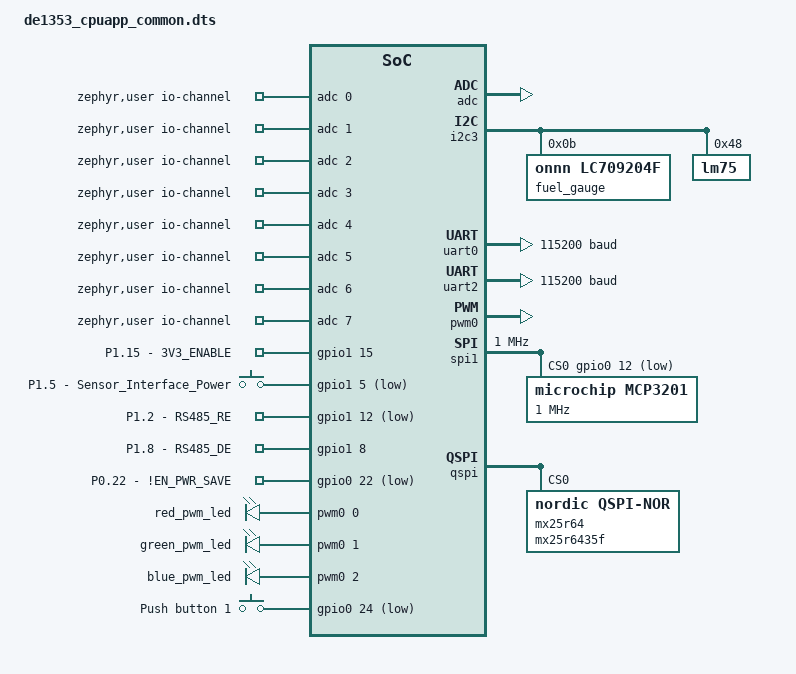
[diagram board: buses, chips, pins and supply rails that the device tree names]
/*
 * Copyright (c) 2019-2020 Nordic Semiconductor ASA
 *
 * SPDX-License-Identifier: Apache-2.0
 */
#include "de1353_cpuapp_common-pinctrl.dtsi"

/ {

	chosen {
		zephyr,console = &uart0;
		zephyr,shell-uart = &uart0;
		zephyr,uart-mcumgr = &uart0;
		zephyr,bt-mon-uart = &uart0;
		zephyr,bt-c2h-uart = &uart0;
		zephyr,bt-hci-rpmsg-ipc = &ipc0;
		zephyr,rs485 = &uart2;
	};

	zephyr,user {
		io-channels = <&adc 0>, <&adc 1>, <&adc 2>, <&adc 3>, <&adc 4>, <&adc 5>, <&adc 6>, <&adc 7>;
	};

	// GPIO
	gpio-pins {
		compatible = "gpio-keys";
		gpio3v3Enable: gpio_3v3_enable {
			gpios = <&gpio1 15 (GPIO_PULL_UP | GPIO_ACTIVE_HIGH)>;
			label = "P1.15 - 3V3_ENABLE";
		};
		gpioInterfacePower: gpio_interface_power {
			gpios = <&gpio1 5 (GPIO_ACTIVE_LOW)>;
			label = "P1.5 - Sensor_Interface_Power";
		};
		gpio_rs485_re: gpio_rs485_re {
			gpios = <&gpio1 12 (GPIO_ACTIVE_LOW)>;
			label = "P1.2 - RS485_RE";
		};
		gpio_rs485_de: gpio_rs485_de {
			gpios = <&gpio1 8 (GPIO_ACTIVE_HIGH)>;
			label = "P1.8 - RS485_DE";
		};
		gpio_en_pwr_save: gpio_en_pwr_save {
			gpios = <&gpio0 22 (GPIO_ACTIVE_LOW)>;
			label = "P0.22 - !EN_PWR_SAVE";
		};
	  };
	aliases {
		gpio-3v3-enable = &gpio3v3Enable;
		gpio-interface-power = &gpioInterfacePower;
		gpio-rs485-re = &gpio_rs485_re;
		gpio-rs485-de = &gpio_rs485_de;
		gpio-en-pwr-save = &gpio_en_pwr_save;
	};
	// PWM
	pwmleds {
		compatible = "pwm-leds";
		red_pwm_led: red_pwm_led {
			pwms = <&pwm0 0 PWM_MSEC(1) PWM_POLARITY_NORMAL>;
		};
		green_pwm_led: green_pwm_led {
			pwms = <&pwm0 1 PWM_MSEC(1) PWM_POLARITY_NORMAL>;
		};
		blue_pwm_led: blue_pwm_led {
			pwms = <&pwm0 2 PWM_MSEC(1) PWM_POLARITY_NORMAL>;
		};
	};
  	aliases {
		red-pwm-led = &red_pwm_led;
		green-pwm-led = &green_pwm_led;
		blue-pwm-led = &blue_pwm_led;
	};

	buttons {
		compatible = "gpio-keys";
		button0: button_0 {
			gpios = <&gpio0 24 (GPIO_PULL_UP | GPIO_ACTIVE_LOW)>;
			label = "Push button 1";
		};
	};

	/* These aliases are provided for compatibility with samples */
	aliases {
		sw0 = &button0;
	};
};

&adc {
	status = "okay";
};

&gpiote {
	status = "okay";
};

&gpio0 {
	status = "okay";
};

&gpio1 {
	status = "okay";
};

&i2c3 {
	compatible = "nordic,nrf-twim";
	status = "okay";
	pinctrl-0 = <&i2c3_default>;
	pinctrl-1 = <&i2c3_sleep>;
	pinctrl-names = "default", "sleep";

	fuel_gauge: lc709204f@B {
		compatible = "onnn,lc709204f";
		status = "okay";
		reg = <0x0B>;
		apa = <0x1A1A>;			//250mA --> 24:0x18 + (33:0x21-24:0x18) x (250-200)/(500-200) = 25,5:0x1A
		thermistor = <10000>;	//10K
		mode = <0x1>;			//temperature measurement with external thermistors on TSENSE1
		profile = <0x01>;		//Nominal/Rated Voltage: 3,7V and Charging Voltage: 4,2V
		empty_voltage = <3000>;	//cell end-voltage
	};

	lm75: lm75@48 {
		compatible = "lm75";
		reg = <0x48 >;
		label = "LM75";
	};
};

&uart0 {
	status = "okay";
	current-speed = <115200>;
	pinctrl-0 = <&uart0_default>;
	pinctrl-1 = <&uart0_sleep>;
	pinctrl-names = "default", "sleep";
};

&uart2 {
	status = "okay";
	current-speed = <115200>;
	pinctrl-0 = <&uart1_default>;
	pinctrl-1 = <&uart1_sleep>;
	pinctrl-names = "default", "sleep";
};

&pwm0 {
	status = "okay";
	pinctrl-0 = <&pwm0_default>;
	pinctrl-1 = <&pwm0_sleep>;
	pinctrl-names = "default", "sleep";
};

&spi1 {
	status = "okay";
	compatible = "nordic,nrf-spim";
	cs-gpios = <&gpio0 12 GPIO_ACTIVE_LOW>;
	pinctrl-0 = <&spi1_default>;
	pinctrl-1 = <&spi1_sleep>;
	pinctrl-names = "default", "sleep";
	clock-frequency = <1000000>;
	mcp3201: mcp3201@0 {
		compatible = "microchip,mcp3201";
		#io-channel-cells = <1>;
		reg = <0x0 >;
		spi-max-frequency = <1000000>;
	};
};

&qspi {
	status = "okay";
	pinctrl-0 = <&qspi_default>;
	pinctrl-1 = <&qspi_sleep>;
	pinctrl-names = "default", "sleep";
	mx25r64: mx25r6435f@0 {
		compatible = "nordic,qspi-nor";
		reg = <0>;
		/* MX25R64 supports only pp and pp4io */
		/* Thingy:53 supports only pp and pp2o options */
		writeoc = "pp";
		/* MX25R64 supports all readoc options */
		/* Thingy:53 supports only fastread and read2io options */
		readoc = "read2io";
		sck-frequency = <8000000>;
		jedec-id = [c2 28 17];
		sfdp-bfp = [
			e5 20 f1 ff  ff ff ff 03  44 eb 08 6b  08 3b 04 bb
			ee ff ff ff  ff ff 00 ff  ff ff 00 ff  0c 20 0f 52
			10 d8 00 ff  23 72 f5 00  82 ed 04 cc  44 83 68 44
			30 b0 30 b0  f7 c4 d5 5c  00 be 29 ff  f0 d0 ff ff
		];
		size = <67108864>;
		has-dpd;
		t-enter-dpd = <10000>;
		t-exit-dpd = <35000>;
	};
};

&flash0 {

	partitions {
		compatible = "fixed-partitions";
		#address-cells = <1>;
		#size-cells = <1>;

		boot_partition: partition@0 {
			label = "mcuboot";
			reg = <0x00000000 0x00010000>;
		};
		slot0_partition: partition@10000 {
			label = "image-0";
		};
		slot0_ns_partition: partition@50000 {
			label = "image-0-nonsecure";
		};
		slot1_partition: partition@80000 {
			label = "image-1";
		};
		slot1_ns_partition: partition@c0000 {
			label = "image-1-nonsecure";
		};
		scratch_partition: partition@f0000 {
			label = "image-scratch";
			reg = <0x000f0000 0xa000>;
		};
		settings_storage: partition@fa000 {
			label = "settings_storage";
			reg = <0x000fa000 DT_SIZE_K(4)>; // 8 KB
		};
		device_storage: partition@fe000 {
			label = "device_storage";
			reg = <0x000fa000 DT_SIZE_K(4)>; // 8 KB
		};
	};
};

/ {

	reserved-memory {
		#address-cells = <1>;
		#size-cells = <1>;
		ranges;

		sram0_image: image@20000000 {
			/* Zephyr image(s) memory */
		};

		sram0_s: image_s@20000000 {
			/* Secure image memory */
		};

		sram0_ns: image_ns@20040000 {
			/* Non-Secure image memory */
		};
	};
};

/* Include partition configuration file */
#include "de1353_cpuapp_partition_conf.dts"
